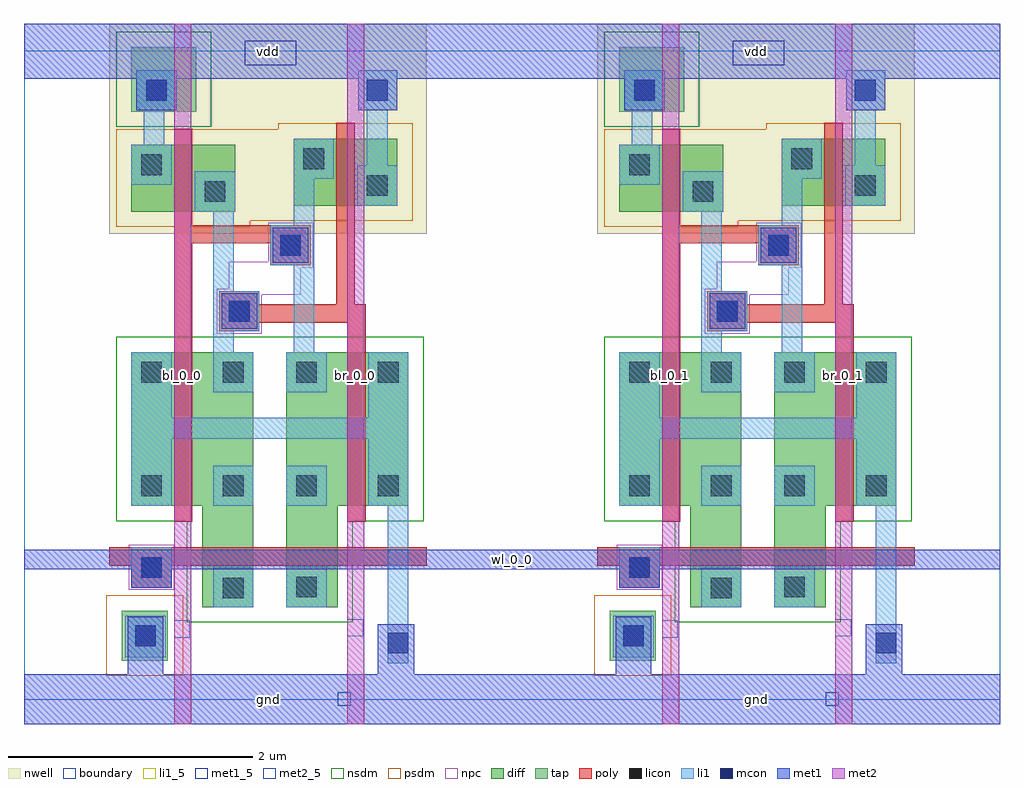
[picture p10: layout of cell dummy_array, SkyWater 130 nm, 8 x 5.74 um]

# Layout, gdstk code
import gdstk
lib = gdstk.Library(unit=1e-6, precision=1e-09)
def R(c, l, rs):  # rectangles x0, y0, x1, y1
    for r in rs: c.add(gdstk.rectangle(r[:2], r[2:], *l))
nwell = (64, 20)
diff = (65, 20)
tap = (65, 44)
poly = (66, 20)
licon = (66, 44)
li1_5 = (67, 5)
li1 = (67, 20)
mcon = (67, 44)
met1_5 = (68, 5)
met1 = (68, 20)
met2_5 = (69, 5)
met2 = (69, 20)
nsdm = (93, 44)
psdm = (94, 20)
npc = (95, 20)
boundary = (235, 4)

dummy_cell_1rw = lib.new_cell('dummy_cell_1rw')
R(dummy_cell_1rw, nwell, [(0.7,3.82,3.3,5.54)])
R(dummy_cell_1rw, diff, [(1.46,0.76,1.88,1.59), (2.15,0.76,2.57,1.59), (0.88,1.59,1.88,2.85), (2.15,1.59,3.15,2.85), (0.88,4,1.73,4.55), (2.21,4.05,3.06,4.6)])
R(dummy_cell_1rw, tap, [(0.8,0.32,1.18,0.73), (0.88,4.82,1.41,5.35)])
R(dummy_cell_1rw, poly, [(0.88,0.92,1.21,1.1), (0.7,1.1,3.3,1.25), (1.23,1.46,1.38,3.74), (2.65,1.46,2.8,3.09), (1.6,3.02,1.93,3.09), (1.6,3.09,2.8,3.24), (1.6,3.24,1.93,3.35), (2.56,3.24,2.71,4.73), (2.02,3.56,2.35,3.74), (1.23,3.74,2.35,3.89), (1.23,3.89,1.38,4.68)])
R(dummy_cell_1rw, licon, [(0.91,0.44,1.08,0.61), (1.63,0.83,1.8,1), (2.23,0.84,2.4,1.01), (0.96,1,1.13,1.17), (0.96,1.67,1.13,1.84), (1.63,1.67,1.8,1.84), (2.23,1.67,2.4,1.84), (2.9,1.67,3.07,1.84), (0.96,2.6,1.13,2.77), (1.63,2.6,1.8,2.77), (2.23,2.6,2.4,2.77), (2.9,2.6,3.07,2.77), (1.68,3.1,1.85,3.27), (2.1,3.64,2.27,3.81), (1.48,4.08,1.65,4.25), (2.81,4.13,2.98,4.3), (0.96,4.3,1.13,4.47), (2.29,4.35,2.46,4.52), (1,4.91,1.17,5.08)])
R(dummy_cell_1rw, li1_5, [(1.72,3.14,1.83,3.25), (2.13,3.67,2.24,3.78)])
R(dummy_cell_1rw, li1, [(2.98,0.3,3.15,1.59), (0.83,0.35,1.16,0.69), (1.55,0.76,1.88,1.08), (2.15,0.76,2.48,1.09), (0.88,0.92,1.21,1.25), (0.88,1.59,1.21,2.14), (1.55,1.59,1.88,1.92), (2.15,1.59,2.48,1.92), (2.82,1.59,3.15,2.14), (0.88,2.14,3.15,2.31), (0.88,2.31,1.21,2.85), (2.82,2.31,3.15,2.85), (1.55,2.52,1.88,2.85), (2.15,2.52,2.48,2.85), (1.55,2.85,1.72,3.02), (2.21,2.85,2.38,3.56), (1.55,3.02,1.93,3.35), (1.55,3.35,1.72,4), (2.02,3.56,2.38,3.89), (2.21,3.89,2.38,4.27), (1.4,4,1.73,4.33), (2.73,4.05,3.06,4.38), (0.88,4.22,1.21,4.55), (2.21,4.27,2.54,4.6), (2.81,4.38,2.98,4.83), (0.98,4.55,1.15,4.83), (0.92,4.83,1.25,5.16), (2.74,4.83,3.06,5.16)])
R(dummy_cell_1rw, mcon, [(2.98,0.38,3.15,0.55), (0.91,0.44,1.08,0.61), (0.96,1,1.13,1.17), (1.68,3.1,1.85,3.27), (2.1,3.64,2.27,3.81), (1,4.91,1.17,5.08), (2.81,4.91,2.98,5.08)])
R(dummy_cell_1rw, met1_5, [(2.57,-0.05,2.68,0.06), (0.98,1.02,1.09,1.13), (1.81,5.2,2.23,5.4)])
R(dummy_cell_1rw, met1, [(0,-0.2,4,0.21), (0,-0.2,4,0.21), (0.85,0.21,1.14,0.68), (2.9,0.21,3.2,0.62), (0.88,0.92,1.21,1.07), (0.9,1.07,1.19,1.23), (0.9,1.07,1.19,1.23), (1.62,3.04,1.91,3.33), (2.04,3.58,2.33,3.87), (0.92,4.83,1.25,5.09), (2.74,4.83,3.06,5.09), (0,5.09,4,5.54), (0,5.09,4,5.54)])
R(dummy_cell_1rw, met2_5, [(1.23,0.51,1.36,0.65), (2.65,0.52,2.78,0.66)])
R(dummy_cell_1rw, met2, [(1.23,-0.2,1.37,5.54), (1.23,-0.2,1.37,5.54), (2.65,-0.2,2.79,5.54), (2.65,-0.2,2.79,5.54)])
R(dummy_cell_1rw, nsdm, [(1.335,0.635,2.695,1.465), (0.755,1.465,3.275,2.975), (0.755,4.695,1.535,5.475)])
R(dummy_cell_1rw, psdm, [(0.675,0.195,1.305,0.855), (0.755,3.875,1.855,3.925), (0.755,3.925,3.185,4.675), (2.085,4.675,3.185,4.725)])
R(dummy_cell_1rw, npc, [(0.86,0.9,1.23,1.27), (1.58,3,1.95,3.32), (1.58,3.32,2.27,3.37), (1.68,3.37,2.27,3.54), (1.68,3.54,2.37,3.59), (2,3.59,2.37,3.91)])
R(dummy_cell_1rw, boundary, [(0,0,4,5.32)])
dummy_cell_1rw.add(gdstk.Label('vdd', (2.02,5.3), layer=68, texttype=5))
dummy_cell_1rw.add(gdstk.Label('gnd', (2.625,0.005), layer=68, texttype=5))
dummy_cell_1rw.add(gdstk.Label('wl', (1.035,1.075), layer=68, texttype=5))
dummy_cell_1rw.add(gdstk.Label('q', (1.775,3.195), layer=67, texttype=5))
dummy_cell_1rw.add(gdstk.Label('qb', (2.185,3.725), layer=67, texttype=5))
dummy_cell_1rw.add(gdstk.Label('br', (2.715,0.59), layer=69, texttype=5))
dummy_cell_1rw.add(gdstk.Label('bl', (1.295,0.58), layer=69, texttype=5))
dummy_cell_1rw.add(gdstk.Label('bl', (1.3,2.67), layer=69, texttype=20))
dummy_cell_1rw.add(gdstk.Label('br', (2.72,2.67), layer=69, texttype=20))
dummy_cell_1rw.add(gdstk.Label('wl', (1.045,1.15), layer=68, texttype=20))
dummy_cell_1rw.add(gdstk.Label('vdd', (2,5.315), layer=68, texttype=20))
dummy_cell_1rw.add(gdstk.Label('gnd', (2,0.005), layer=68, texttype=20))

dummy_array = lib.new_cell('dummy_array')
R(dummy_array, met1, [(0,-0.2,4,0.21), (4,-0.2,8,0.21), (0,1.07,8,1.23), (0,5.09,4,5.54), (4,5.09,8,5.54)])
R(dummy_array, met2, [(1.23,0,1.37,5.32), (2.65,0,2.79,5.32), (5.23,0,5.37,5.32), (6.65,0,6.79,5.32)])
R(dummy_array, boundary, [(0,0,8,5.32)])
dummy_array.add(gdstk.Reference(dummy_cell_1rw, (0,0)))
dummy_array.add(gdstk.Reference(dummy_cell_1rw, (4,0)))
dummy_array.add(gdstk.Label('bl_0_0', (1.3,2.66), layer=69, texttype=20))
dummy_array.add(gdstk.Label('br_0_0', (2.72,2.66), layer=69, texttype=20))
dummy_array.add(gdstk.Label('bl_0_1', (5.3,2.66), layer=69, texttype=20))
dummy_array.add(gdstk.Label('br_0_1', (6.72,2.66), layer=69, texttype=20))
dummy_array.add(gdstk.Label('wl_0_0', (4,1.15), layer=68, texttype=20))
dummy_array.add(gdstk.Label('vdd', (2,5.315), layer=68, texttype=20))
dummy_array.add(gdstk.Label('vdd', (6,5.315), layer=68, texttype=20))
dummy_array.add(gdstk.Label('gnd', (6,0.005), layer=68, texttype=20))
dummy_array.add(gdstk.Label('gnd', (2,0.005), layer=68, texttype=20))

lib.write_gds('dummy_array.gds')
